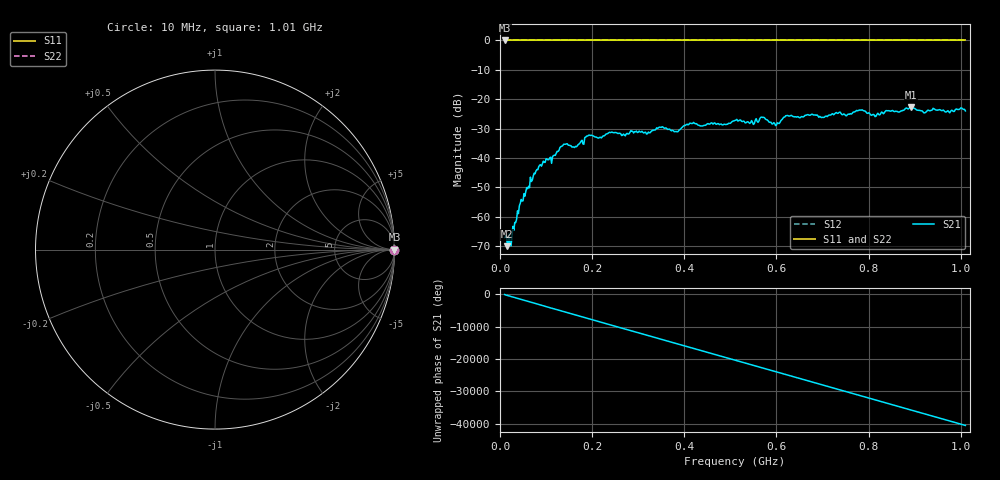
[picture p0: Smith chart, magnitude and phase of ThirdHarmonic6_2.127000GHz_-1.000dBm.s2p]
! 8/17/2025 1:25:27 AM
! C:\ANRITSUVNA\TEMP\TEMP.S2P
! CHANNEL.1
! TR.MEASUREMENT
! RAW.DATA
! RF.CORRECTION.OFF
! AVERAGING.OFF
! IF.BANDWIDTH: 5KHZ
! SWEEPTYPE:  FREQ.SWEEP(Linear)
! Reference Plane Port Info
! PORT:  PORT1  PORT2
! DISTANCE:  0  m  0  m
! TIME:  0  s  0  s
! PHASE.OFFSET:  0  deg.  0  deg.
! LOSS:  0  dB  0  dB
! REF.LOSS:  0  dB  0  dB
! REF.FREQ:  0  Hz  0  Hz
! Power Info
! POWER:  -20  dBm  -20  dBm
! EFF.POWER:  -20  dBm  -20  dBm
! SOURCE.ATTEN:  0  dB  0  dB
! TEST.ATTEN:  0  dB  0  dB
# GHZ S RI R 50.0
! FREQ.GHZ  S11RE  S11IM  S21RE  S21IM  S12RE  S12IM  S22RE  S22IM
!; PortSelection: Port_12
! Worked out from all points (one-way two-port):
!   501 points, 10 MHz to 1.01 GHz, reference 50 ohm
!   highest |S21| = -22.69 dB at 892 MHz (marker M1); lowest = -70.0 dB at 16 MHz (marker M2)
!   lowest |S11| = 0.0 dB at 10 MHz (marker M3)
!   |S11| at or under -10 dB: nowhere
!   |S22| runs from 0.0 to 0.0 dB; largest |S21 - S12| = 1.1
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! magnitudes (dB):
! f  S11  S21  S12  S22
! 10 MHz  0.0  -67.1  0.0  0.0
! 16 MHz  0.0  -70.0  0.0  0.0
! 20 MHz  0.0  -65.8  0.0  0.0
! 26 MHz  0.0  -66.7  0.0  0.0
! 42 MHz  0.0  -56.3  0.0  0.0
! 84 MHz  0.0  -43.0  0.0  0.0
! 136 MHz  0.0  -35.8  0.0  0.0
! 178 MHz  0.0  -34.0  0.0  0.0
! 192 MHz  0.0  -32.3  0.0  0.0
! 322 MHz  0.0  -31.2  0.0  0.0
! 344 MHz  0.0  -29.7  0.0  0.0
! 382 MHz  0.0  -31.0  0.0  0.0
! 416 MHz  0.0  -28.3  0.0  0.0
! 510 MHz  0.0  -27.2  0.0  0.0
! 548 MHz  0.0  -27.9  0.0  0.0
! 570 MHz  0.0  -26.2  0.0  0.0
! 602 MHz  0.0  -28.0  0.0  0.0
! 622 MHz  0.0  -25.6  0.0  0.0
! 678 MHz  0.0  -25.1  0.0  0.0
! 844 MHz  0.0  -23.9  0.0  0.0
! 892 MHz  0.0  -22.7  0.0  0.0
! 1.01 GHz  0.0  -24.0  0.0  0.0
